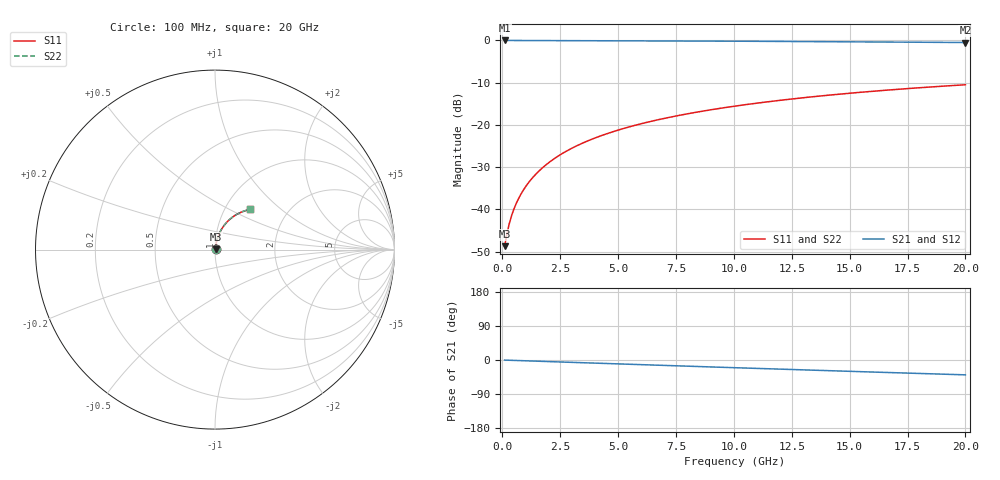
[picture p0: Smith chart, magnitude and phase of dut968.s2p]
! Touchstone file exported from HFSS 2026.1.0
!  File:  C:/ffzhzh/LocalFiles/Ansys_Project_Files/temp_train_BSMRDL_968_1783172553_51560.aedt
!  Generated:  09:43:46 PM Jul  4, 2026
!  Design:  BSMRDL
!  Project:  temp_train_BSMRDL_968_1783172553_51560
! Variables:
!  h_bsmrdl = 3.48um
!  h_ox = 20um
!  h_rdl = 5um
!  h_sub = 80um
!  h_tmrdl = 5um
!  h_tsv = 80um
!  h_via = 3um
!  l_bsmrdl = 608.71um
!  l_sub = 1008.71um
!  l_tmrdl = 200um
!  m_sub = 200um
!  pitch = 39.26um
!  r_tsv = 6um
!  s_tmrdl = 10um
!  w_bsmrdl = 21.77um
!  w_sub = 500um
!  w_tmrdl = 12um
!  x_tsv_center1 = 206um
!  x_tsv_center2 = 836.48um
!  x_tsv_center3 = 1048.48um
!  x_tsv_center4 = 1678.96um
!  x_tsv_center5 = 1890.96um
!  x_tsv_center6 = 2521.44um
# GHz S MA R 50.000000
! Terminal data exported
! Port[1] = BSM_RDL1_1_T1
! Port[2] = BSM_RDL1_1_T2
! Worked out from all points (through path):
!   200 points, 100 MHz to 20 GHz, reference 50 ohm
!   highest |S21| = -0.03 dB at 100 MHz (marker M1); lowest = -0.5 dB at 20 GHz (marker M2)
!   group delay of S21, straight-line fit = 5.44 ps
!   lowest |S11| = -48.7 dB at 100 MHz (marker M3), VSWR 1.01, Z = 50.3 + j0.204 ohm
!   |S11| at or under -10 dB: start of sweep to end of sweep
!   |S22| runs from -48.7 to -10.5 dB; largest |S21 - S12| = 3.8e-15
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0.1  0.003672 33.4  0.9969 -0.2  0.9969 -0.2  0.003672 33.4
! Gamma 0 0 0 0
! Port Impedance 50 0 50 0
0.2  0.005125 50.6  0.9968 -0.4  0.9968 -0.4  0.005125 50.6
0.3  0.006756 59.0  0.9966 -0.7  0.9966 -0.7  0.006756 59.0
0.4  0.008409 64.0  0.9964 -0.9  0.9964 -0.9  0.008409 64.0
0.5  0.01006 67.3  0.9963 -1.1  0.9963 -1.1  0.01006 67.3
0.6  0.01172 69.8  0.9961 -1.3  0.9961 -1.3  0.01172 69.8
0.8  0.01506 73.1  0.996 -1.7  0.996 -1.7  0.01506 73.1
1.1  0.02014 76.0  0.9957 -2.3  0.9957 -2.3  0.02014 76.0
1.3  0.02356 77.1  0.9956 -2.7  0.9956 -2.7  0.02356 77.1
1.6  0.02872 78.1  0.9954 -3.3  0.9954 -3.3  0.02872 78.1
2.1  0.03735 78.8  0.9949 -4.4  0.9949 -4.4  0.03734 78.8
2.7  0.04769 78.7  0.9942 -5.6  0.9942 -5.6  0.04769 78.7
3.5  0.0614 78.0  0.993 -7.2  0.993 -7.2  0.0614 78.0
4.2  0.07328 77.0  0.9918 -8.7  0.9918 -8.7  0.07328 77.0
5  0.08669 75.7  0.9903 -10.3  0.9903 -10.3  0.08669 75.8
5.9  0.1016 74.2  0.9883 -12.1  0.9883 -12.1  0.1015 74.2
6.8  0.1162 72.6  0.9862 -13.9  0.9862 -13.9  0.1162 72.6
8.3  0.1399 69.8  0.9822 -16.9  0.9822 -16.9  0.1399 69.8
10.1  0.1674 66.5  0.977 -20.5  0.977 -20.5  0.1674 66.5
13.4  0.215 60.4  0.9663 -26.9  0.9663 -26.9  0.215 60.4
16.7  0.2587 54.4  0.9547 -33.1  0.9547 -33.1  0.2587 54.5
20  0.2982 48.5  0.9425 -39.2  0.9425 -39.2  0.2982 48.6
